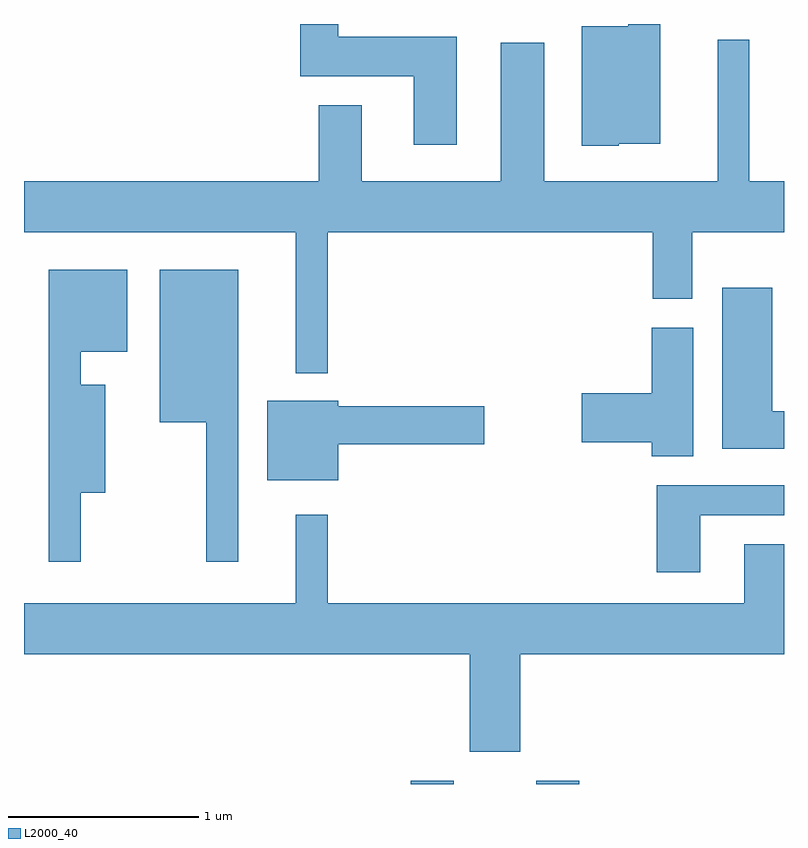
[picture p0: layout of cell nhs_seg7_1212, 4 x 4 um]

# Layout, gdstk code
import gdstk
lib = gdstk.Library(unit=1e-6, precision=1e-09)
def R(c, l, rs):  # rectangles x0, y0, x1, y1
    for r in rs: c.add(gdstk.rectangle(r[:2], r[2:], *l))
def P(c, l, *ps):  # polygons
    for p in ps: c.add(gdstk.Polygon(p, *l))
L2000_40 = (2000, 40)

nhs_seg7_1212 = lib.new_cell('nhs_seg7_1212')
R(nhs_seg7_1212, L2000_40, [(223.646,1760.252,223.874,1760.269), (224.306,1760.252,224.534,1760.269)])
P(nhs_seg7_1212, L2000_40, [(223.889,1764.184),(223.264,1764.184),(223.264,1764.252),(223.066,1764.252),(223.066,1763.976),(223.661,1763.976),(223.661,1763.616),(223.889,1763.616)],
  [(224.74,1763.621),(224.959,1763.621),(224.959,1764.252),(224.791,1764.252),(224.791,1764.239),(224.546,1764.239),(224.546,1763.611),(224.74,1763.611)],
  [(223.209,1763.156),(224.921,1763.156),(224.921,1762.806),(225.129,1762.806),(225.129,1763.156),(225.611,1763.156),(225.611,1763.424),(225.429,1763.424),(225.429,1764.168),(225.261,1764.168),(225.261,1763.424),(224.349,1763.424),(224.349,1764.154),(224.121,1764.154),(224.121,1763.424),(223.389,1763.424),(223.389,1763.824),(223.161,1763.824),(223.161,1763.424),(221.611,1763.424),(221.611,1763.156),(223.041,1763.156),(223.041,1762.413),(223.209,1762.413)],
  [(222.739,1762.959),(222.326,1762.959),(222.326,1762.156),(222.571,1762.156),(222.571,1761.423),(222.739,1761.423)],
  [(221.909,1761.786),(222.039,1761.786),(222.039,1762.354),(221.909,1762.354),(221.909,1762.526),(222.154,1762.526),(222.154,1762.959),(221.741,1762.959),(221.741,1761.423),(221.909,1761.423)],
  [(225.611,1762.214),(225.549,1762.214),(225.549,1762.864),(225.286,1762.864),(225.286,1762.016),(225.611,1762.016)],
  [(225.134,1762.654),(224.916,1762.654),(224.916,1762.309),(224.546,1762.309),(224.546,1762.051),(224.916,1762.051),(224.916,1761.976),(225.134,1761.976)],
  [(223.264,1762.041),(224.034,1762.041),(224.034,1762.239),(223.264,1762.239),(223.264,1762.269),(222.891,1762.269),(222.891,1761.851),(223.264,1761.851)],
  [(225.169,1761.666),(225.611,1761.666),(225.611,1761.824),(224.941,1761.824),(224.941,1761.366),(225.169,1761.366)],
  [(224.224,1760.936),(225.611,1760.936),(225.611,1761.514),(225.401,1761.514),(225.401,1761.204),(223.209,1761.204),(223.209,1761.668),(223.041,1761.668),(223.041,1761.204),(221.611,1761.204),(221.611,1760.936),(223.956,1760.936),(223.956,1760.421),(224.224,1760.421)])

lib.write_gds('nhs_seg7_1212.gds')
